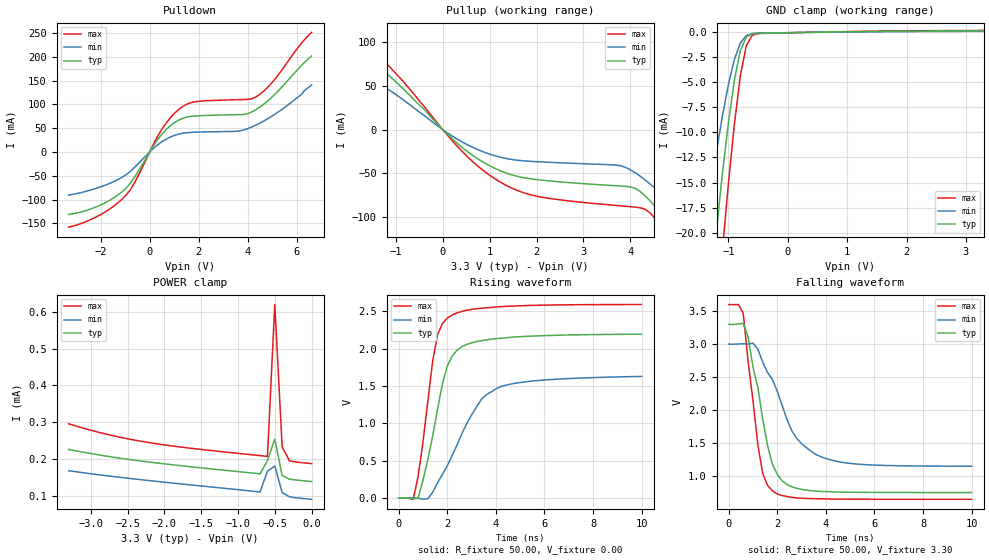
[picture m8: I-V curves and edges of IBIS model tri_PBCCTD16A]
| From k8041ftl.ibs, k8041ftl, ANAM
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|   Model tri_PBCCTD16A
[Model]   tri_PBCCTD16A
Model_type   I/O
Polarity   Non-Inverting
Enable   Active-Low
Vinl =   0.80V
Vinh =   2.00V
Vmeas =  1.50V
C_comp   7.13e-12F   7.13e-12F   7.13e-12F
[Temperature Range]   25   125   0
[Voltage Range]   3.30V   3.00V   3.60V
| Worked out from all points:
|   slope of the pulldown table from 0 to 0.495 V, typ, clamps not added: 13.3 ohm
|   slope of the pullup table from 0 to 0.495 V, typ, clamps not added: 20.8 ohm
|   GND clamp passes 1 mA (typ) near -0.74 V on its own axis
|   rising waveform, R_fixture 50.00, V_fixture 0.00: 20-80 % time 847ps typ, 1.55ns min, 636ps max; typ from 0 V to 2.19 V
|   falling waveform, R_fixture 50.00, V_fixture 3.30: 20-80 % time 804ps typ, 1.41ns min, 584ps max; typ from 3.3 V to 0.751 V
[POWER_clamp]
| voltage   I(typ)   I(min)   I(max)
-3.3V     226.2uA    168.4uA    296uA
-2.8V     208.5uA    155.3uA    268.3uA
-2.3V     194.3uA    143.7uA    247.9uA
-1.7V     180.4uA    131.1uA    230.9uA
-700mV    159.9uA    110.8uA    209.5uA
-600mV    196uA      167uA      207.2uA
-500mV    254.6uA    181.3uA    620uA
-400mV    155.6uA    109uA      233.2uA
-300mV    145.3uA    97.52uA    195.4uA
0V        139uA      90.75uA    187.8uA
[GND_clamp]
| voltage   I(typ)   I(min)   I(max)
-3.3V     -167.2mA   -116.4mA   -200mA
-1.4V     -31.95mA   -19.86mA   -43.93mA
-1.2V     -19.66mA   -11.88mA   -28.81mA
-1.1V     -14.07mA   -8.334mA   -21.72mA
-1V       -9.04mA    -5.222mA   -15.11mA
-900mV    -4.821mA   -2.726mA   -9.207mA
-800mV    -1.851mA   -1.077mA   -4.403mA
-700mV    -476uA     -332.5uA   -1.357mA
-600mV    -154.8uA   -129.2uA   -300.3uA
-500mV    -106uA     -87.18uA   -130.9uA
1.3V      72.2uA     42.86uA    94.92uA
3.3V      139uA      97.52uA    181.8uA
[Pullup]
| voltage   I(typ)   I(min)   I(max)
-3.3V     117.9mA    49.1mA     147.2mA
-3V       115.1mA    49.33mA    141.6mA
-2.7V     110.8mA    74.58mA    134.9mA
-2V       94.92mA    69.41mA    112.8mA
-1V       54.69mA    40.22mA    64.37mA
500mV     -23.91mA   -16.46mA   -29.54mA
1.5V      -52.05mA   -34.26mA   -67.47mA
3.8V      -64.45mA   -41.37mA   -87.08mA
4.2V      -70.29mA   -52.78mA   -89.19mA
5V        -121.3mA   -90.69mA   -138.9mA
5.5V      -164.1mA   -119.9mA   -191.1mA
6.6V      -326.5mA   -220.3mA   -410mA
[Pulldown]
| voltage   I(typ)   I(min)   I(max)
-3.3V     -131mA     -90.45mA   -157.8mA
-2V       -111.1mA   -73.2mA    -131.4mA
-1V       -77.73mA   -49.02mA   -92.53mA
-600mV    -51.41mA   -31.43mA   -63.1mA
400mV     31.1mA     17.94mA    39.52mA
800mV     53.22mA    30.32mA    69.16mA
1.2V      67.35mA    37.71mA    89.84mA
1.9V      75.76mA    41.65mA    105.8mA
3.6V      78.47mA    43.75mA    109.9mA
4.3V      87.95mA    55.83mA    114.7mA
5V        115.9mA    75.8mA     146.4mA
6.6V      201.6mA    140.8mA    251.2mA
[Ramp]
| variable   typ   min   max
dV/dt_r   0.01/3.41e-10   0.01/5.65e-10   0.02/3.38e-10
dV/dt_f   1.54/8.06e-10   1.12/1.42e-09   1.78/5.70e-10
R_load = 50.00
[Rising Waveform]
R_fixture = 50.00
V_fixture = 0.00
V_fixture_min = 0.00
V_fixture_max = 0.00
| time   V(typ)   V(min)   V(max)
0s        0V         0V         0V
600ps     -13.1mV    213.5uV    -18.08mV
1ns       238.4mV    -16.75mV   749mV
1.4ns     831.9mV    77.81mV    1.835V
1.6ns     1.19V      202.7mV    2.186V
2ns       1.764V     431mV      2.409V
2.4ns     1.978V     706.7mV    2.478V
3.4ns     2.106V     1.319V     2.54V
4.2ns     2.139V     1.492V     2.562V
10ns      2.193V     1.628V     2.591V
[Falling Waveform]
R_fixture = 50.00
V_fixture = 3.30
V_fixture_min = 3.00
V_fixture_max = 3.60
| time   V(typ)   V(min)   V(max)
0s        3.3V       3V         3.6V
400ps     3.307V     3.003V     3.601V
600ps     3.314V     3.006V     3.467V
800ps     3.112V     3V         2.741V
1.2ns     2.35V      2.926V     1.479V
1.4ns     1.864V     2.729V     1.042V
1.8ns     1.181V     2.464V     777.5mV
2.6ns     837mV      1.686V     677mV
3.8ns     767mV      1.293V     655.2mV
10ns      750.5mV    1.149V     647.8mV
